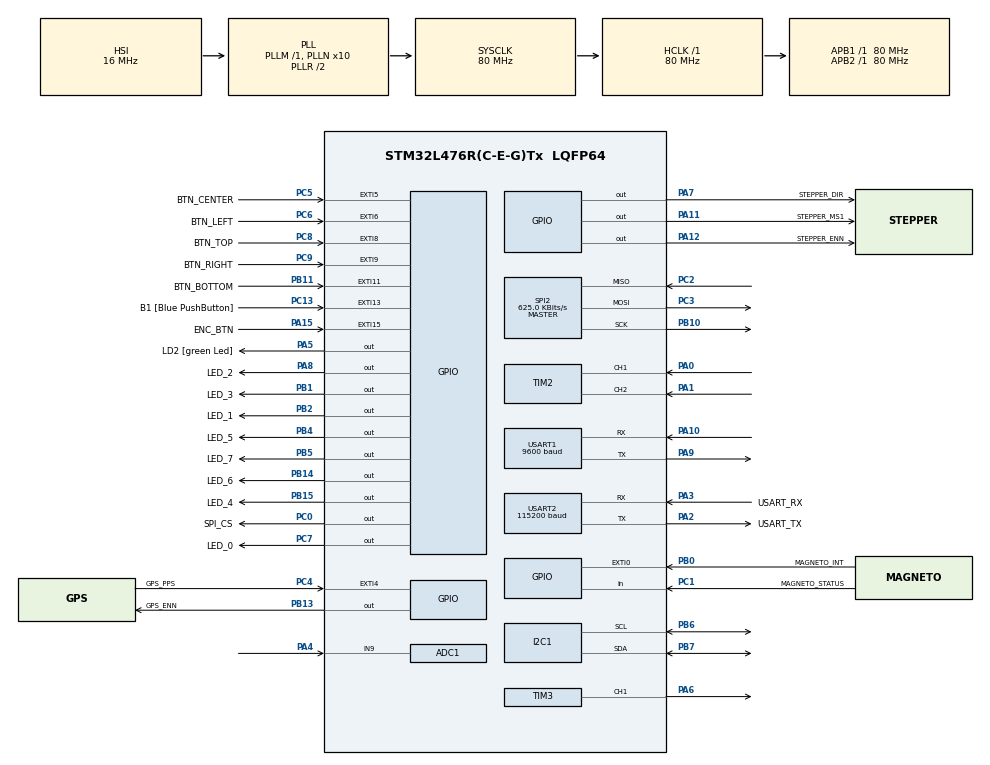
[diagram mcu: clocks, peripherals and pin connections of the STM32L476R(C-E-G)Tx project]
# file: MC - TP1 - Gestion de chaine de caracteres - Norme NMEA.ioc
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ADC1.Channel-2\#ChannelRegularConversion=ADC_CHANNEL_9
ADC1.ContinuousConvMode=DISABLE
ADC1.ExternalTrigConv=ADC_EXTERNALTRIG_T4_TRGO
ADC1.NbrOfConversionFlag=1
ADC1.OffsetNumber-2\#ChannelRegularConversion=ADC_OFFSET_NONE
ADC1.Rank-2\#ChannelRegularConversion=1
ADC1.SamplingTime-2\#ChannelRegularConversion=ADC_SAMPLETIME_2CYCLES_5
ADC1.master=1
I2C1.Timing=0x10909CEC
Mcu.Family=STM32L4
Mcu.Name=STM32L476R(C-E-G)Tx
Mcu.Package=LQFP64
NVIC.ADC1_2_IRQn=true\:0\:0\:false\:false\:true\:true\:true\:true
NVIC.EXTI15_10_IRQn=true\:0\:0\:false\:false\:true\:true\:true\:true
NVIC.PriorityGroup=NVIC_PRIORITYGROUP_4
NVIC.TIM4_IRQn=true\:0\:0\:false\:false\:true\:true\:true\:true
NVIC.TIM6_DAC_IRQn=true\:15\:0\:false\:false\:true\:false\:true\:true
NVIC.TimeBase=TIM6_DAC_IRQn
NVIC.TimeBaseIP=TIM6
PA0.Signal=S_TIM2_CH1
PA1.Signal=S_TIM2_CH2
PA10.Mode=Asynchronous
PA10.Signal=USART1_RX
PA11.GPIO_Label=STEPPER_MS1
PA11.Signal=GPIO_Output
PA12.GPIO_Label=STEPPER_ENN
PA12.PinState=GPIO_PIN_SET
PA12.Signal=GPIO_Output
PA13\ (JTMS-SWDIO).GPIO_Label=TMS
PA13\ (JTMS-SWDIO).Mode=Trace_Asynchronous_SW
PA13\ (JTMS-SWDIO).Signal=SYS_JTMS-SWDIO
PA14\ (JTCK-SWCLK).GPIO_Label=TCK
PA14\ (JTCK-SWCLK).Mode=Trace_Asynchronous_SW
PA14\ (JTCK-SWCLK).Signal=SYS_JTCK-SWCLK
PA15\ (JTDI).GPIO_Label=ENC_BTN
PA15\ (JTDI).Signal=GPXTI15
PA2.GPIO_Label=USART_TX
PA2.GPIO_Mode=GPIO_MODE_AF_PP
PA2.GPIO_PuPd=GPIO_NOPULL
PA2.GPIO_Speed=GPIO_SPEED_FREQ_VERY_HIGH
PA2.Mode=Asynchronous
PA2.Signal=USART2_TX
PA3.GPIO_Label=USART_RX
PA3.GPIO_Mode=GPIO_MODE_AF_PP
PA3.GPIO_PuPd=GPIO_NOPULL
PA3.GPIO_Speed=GPIO_SPEED_FREQ_VERY_HIGH
PA3.Mode=Asynchronous
PA3.Signal=USART2_RX
PA4.Signal=ADCx_IN9
PA5.GPIO_Label=LD2 [green Led]
PA5.GPIO_ModeDefaultOutputPP=GPIO_MODE_OUTPUT_PP
PA5.GPIO_PuPd=GPIO_NOPULL
PA5.GPIO_Speed=GPIO_SPEED_FREQ_LOW
PA5.Signal=GPIO_Output
PA6.Signal=S_TIM3_CH1
PA7.GPIO_Label=STEPPER_DIR
PA7.Signal=GPIO_Output
PA8.GPIO_Label=LED_2
PA8.Signal=GPIO_Output
PA9.Mode=Asynchronous
PA9.Signal=USART1_TX
PB0.GPIO_Label=MAGNETO_INT
PB0.Signal=GPXTI0
PB1.GPIO_Label=LED_3
PB1.Signal=GPIO_Output
PB10.Mode=Full_Duplex_Master
PB10.Signal=SPI2_SCK
PB11.GPIO_Label=BTN_BOTTOM
PB11.Signal=GPXTI11
PB13.GPIO_Label=GPS_ENN
PB13.Signal=GPIO_Output
PB14.GPIO_Label=LED_6
PB14.Signal=GPIO_Output
PB15.GPIO_Label=LED_4
PB15.Signal=GPIO_Output
PB2.GPIO_Label=LED_1
PB2.Signal=GPIO_Output
PB3\ (JTDO-TRACESWO).Mode=Trace_Asynchronous_SW
PB3\ (JTDO-TRACESWO).Signal=SYS_JTDO-SWO
PB4\ (NJTRST).GPIO_Label=LED_5
PB4\ (NJTRST).Signal=GPIO_Output
PB5.GPIO_Label=LED_7
PB5.Signal=GPIO_Output
PB6.Mode=I2C
PB6.Signal=I2C1_SCL
PB7.Mode=I2C
PB7.Signal=I2C1_SDA
PC0.GPIO_Label=SPI_CS
PC0.PinState=GPIO_PIN_SET
PC0.Signal=GPIO_Output
PC1.GPIO_Label=MAGNETO_STATUS
PC1.Signal=GPIO_Input
PC13.GPIO_Label=B1 [Blue PushButton]
PC13.GPIO_ModeDefaultEXTI=GPIO_MODE_IT_FALLING
PC13.GPIO_PuPd=GPIO_NOPULL
PC13.Signal=GPXTI13
PC14-OSC32_IN\ (PC14).Mode=LSE-External-Oscillator
PC14-OSC32_IN\ (PC14).Signal=RCC_OSC32_IN
PC15-OSC32_OUT\ (PC15).Mode=LSE-External-Oscillator
PC15-OSC32_OUT\ (PC15).Signal=RCC_OSC32_OUT
PC2.Mode=Full_Duplex_Master
PC2.Signal=SPI2_MISO
PC3.Mode=Full_Duplex_Master
PC3.Signal=SPI2_MOSI
PC4.GPIO_Label=GPS_PPS
PC4.Signal=GPXTI4
PC5.GPIO_Label=BTN_CENTER
PC5.Signal=GPXTI5
PC6.GPIO_Label=BTN_LEFT
PC6.Signal=GPXTI6
PC7.GPIO_Label=LED_0
PC7.Signal=GPIO_Output
PC8.GPIO_Label=BTN_TOP
PC8.Signal=GPXTI8
PC9.GPIO_Label=BTN_RIGHT
PC9.Signal=GPXTI9
PH0-OSC_IN\ (PH0).Mode=HSE-External-Oscillator
PH0-OSC_IN\ (PH0).Signal=RCC_OSC_IN
PH1-OSC_OUT\ (PH1).Mode=HSE-External-Oscillator
PH1-OSC_OUT\ (PH1).Signal=RCC_OSC_OUT
ProjectManager.HeapSize=0x200
ProjectManager.StackSize=0x400
ProjectManager.TargetToolchain=STM32CubeIDE
RCC.ADCFreq_Value=64000000
RCC.AHBFreq_Value=80000000
RCC.APB1Freq_Value=80000000
RCC.APB1TimFreq_Value=80000000
RCC.APB2Freq_Value=80000000
RCC.APB2TimFreq_Value=80000000
RCC.CortexFreq_Value=80000000
RCC.HCLKFreq_Value=80000000
RCC.HSE_VALUE=8000000
RCC.HSI_VALUE=16000000
RCC.MSI_VALUE=4000000
RCC.PLLN=10
RCC.PLLSourceVirtual=RCC_PLLSOURCE_HSI
RCC.PREFETCH_ENABLE=1
RCC.SYSCLKFreq_VALUE=80000000
RCC.SYSCLKSource=RCC_SYSCLKSOURCE_PLLCLK
RCC.USBFreq_Value=64000000
RCC.VCOOutputFreq_Value=160000000
SH.ADCx_IN9.0=ADC1_IN9,IN9-Single-Ended
SH.S_TIM2_CH1.0=TIM2_CH1,Encoder_Interface
SH.S_TIM2_CH2.0=TIM2_CH2,Encoder_Interface
SH.S_TIM3_CH1.0=TIM3_CH1,PWM Generation1 CH1
SPI2.BaudRatePrescaler=SPI_BAUDRATEPRESCALER_128
SPI2.CalculateBaudRate=625.0 KBits/s
SPI2.DataSize=SPI_DATASIZE_8BIT
SPI2.Direction=SPI_DIRECTION_2LINES
SPI2.Mode=SPI_MODE_MASTER
SPI2.NSSPMode=SPI_NSS_PULSE_DISABLE
SPI2.VirtualType=VM_MASTER
TIM3.Channel-PWM\ Generation1\ CH1=TIM_CHANNEL_1
TIM4.Period=9999
TIM4.Prescaler=79
TIM4.TIM_MasterOutputTrigger=TIM_TRGO_UPDATE
USART1.BaudRate=9600
USART1.VirtualMode-Asynchronous=VM_ASYNC
USART2.BaudRate=115200
USART2.VirtualMode-Asynchronous=VM_ASYNC
VP_SYS_VS_tim6.Mode=TIM6
VP_TIM3_VS_ClockSourceINT.Mode=Internal
VP_TIM4_VS_ClockSourceINT.Mode=Internal
board=NUCLEO-L476RG

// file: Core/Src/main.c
/* USER CODE BEGIN Header */
/**
  ******************************************************************************
  * @file           : main.c
  * @brief          : Main program body
  ******************************************************************************
  * @attention
  *
  * Copyright (c) 2024 STMicroelectronics.
  * All rights reserved.
  *
  * This software is licensed under terms that can be found in the LICENSE file
  * in the root directory of this software component.
  * If no LICENSE file comes with this software, it is provided AS-IS.
  *
  ******************************************************************************
  */
/* USER CODE END Header */
#include "main.h"
#include "adc.h"
#include "i2c.h"
#include "spi.h"
#include "tim.h"
#include "usart.h"
#include "gpio.h"

/* USER CODE BEGIN Includes */
#include "utils.h"
#include "fonts.h"
#include "ssd1315.h"
/* USER CODE END Includes */

void SystemClock_Config(void);

/* USER CODE BEGIN 0 */
int __io_putchar(int ch)
{HAL_UART_Transmit(&huart2, (uint8_t *)&ch, 1, HAL_MAX_DELAY);
return ch;}

int __io_getchar(void)
{uint8_t ch = 0;
__HAL_UART_CLEAR_OREFLAG(&huart2);
HAL_UART_Receive(&huart2, (uint8_t *)&ch, 1, HAL_MAX_DELAY);
HAL_UART_Transmit(&huart2, (uint8_t *)&ch, 1, HAL_MAX_DELAY);
return ch;}
/* USER CODE END 0 */

int main(void)
{

  /* MCU Configuration--------------------------------------------------------*/

  /* Reset of all peripherals, Initializes the Flash interface and the Systick. */
  HAL_Init();

  /* Configure the system clock */
  SystemClock_Config();

  /* Initialize all configured peripherals */
  MX_GPIO_Init();
  MX_USART2_UART_Init();
  MX_I2C1_Init();
  MX_SPI2_Init();
  MX_TIM2_Init();
  MX_TIM3_Init();
  MX_USART1_UART_Init();
  MX_ADC1_Init();
  MX_TIM4_Init();

  /* Infinite loop */
  /* USER CODE BEGIN WHILE */
  ssd1315_Init();
  ssd1315_Clear(SSD1315_COLOR_BLACK);

  char biff[16] ={0};
  snprintf(biff,16,"C si Dur");

  ssd1315_Draw_String(0,0,biff,&Font_11x18);
  ssd1315_Refresh();
  char buffer[BUFFER_MAX_SIZE];
  int size=0;

  while (1)
  {size = fillBuffer(buffer,BUFFER_MAX_SIZE);
  if (checkFrame(buffer)==1){getLatitude(buffer); getLongitude(buffer);}
//Si ft pas mettre BUFFER_MAX_SIZE=16
    /* USER CODE END WHILE */

  }
}

void SystemClock_Config(void)
{
  RCC_OscInitTypeDef RCC_OscInitStruct = {0};
  RCC_ClkInitTypeDef RCC_ClkInitStruct = {0};

  /** Configure the main internal regulator output voltage
  */
  if (HAL_PWREx_ControlVoltageScaling(PWR_REGULATOR_VOLTAGE_SCALE1) != HAL_OK)
  {
    Error_Handler();
  }

  /** Initializes the RCC Oscillators according to the specified parameters
  * in the RCC_OscInitTypeDef structure.
  */
  RCC_OscInitStruct.OscillatorType = RCC_OSCILLATORTYPE_HSI;
  RCC_OscInitStruct.HSIState = RCC_HSI_ON;
  RCC_OscInitStruct.HSICalibrationValue = RCC_HSICALIBRATION_DEFAULT;
  RCC_OscInitStruct.PLL.PLLState = RCC_PLL_ON;
  RCC_OscInitStruct.PLL.PLLSource = RCC_PLLSOURCE_HSI;
  RCC_OscInitStruct.PLL.PLLM = 1;
  RCC_OscInitStruct.PLL.PLLN = 10;
  RCC_OscInitStruct.PLL.PLLP = RCC_PLLP_DIV7;
  RCC_OscInitStruct.PLL.PLLQ = RCC_PLLQ_DIV2;
  RCC_OscInitStruct.PLL.PLLR = RCC_PLLR_DIV2;
  if (HAL_RCC_OscConfig(&RCC_OscInitStruct) != HAL_OK)
  {
    Error_Handler();
  }

  /** Initializes the CPU, AHB and APB buses clocks
  */
  RCC_ClkInitStruct.ClockType = RCC_CLOCKTYPE_HCLK|RCC_CLOCKTYPE_SYSCLK
                              |RCC_CLOCKTYPE_PCLK1|RCC_CLOCKTYPE_PCLK2;
  RCC_ClkInitStruct.SYSCLKSource = RCC_SYSCLKSOURCE_PLLCLK;
  RCC_ClkInitStruct.AHBCLKDivider = RCC_SYSCLK_DIV1;
  RCC_ClkInitStruct.APB1CLKDivider = RCC_HCLK_DIV1;
  RCC_ClkInitStruct.APB2CLKDivider = RCC_HCLK_DIV1;

  if (HAL_RCC_ClockConfig(&RCC_ClkInitStruct, FLASH_LATENCY_4) != HAL_OK)
  {
    Error_Handler();
  }
}

void HAL_TIM_PeriodElapsedCallback(TIM_HandleTypeDef *htim)
{
  if (htim->Instance == TIM6) {
    HAL_IncTick();
  }
}

void Error_Handler(void)
{
  __disable_irq();
  while (1)
  {
  }
}
